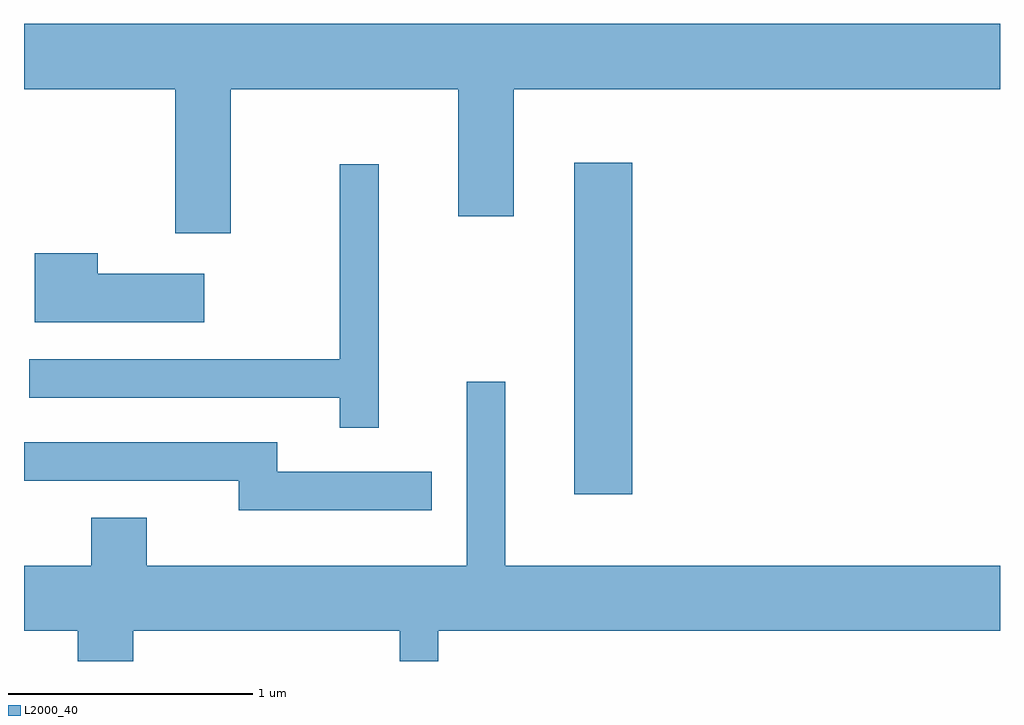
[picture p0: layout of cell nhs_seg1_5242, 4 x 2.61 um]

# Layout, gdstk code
import gdstk
lib = gdstk.Library(unit=1e-6, precision=1e-09)
def R(c, l, rs):  # rectangles x0, y0, x1, y1
    for r in rs: c.add(gdstk.rectangle(r[:2], r[2:], *l))
def P(c, l, *ps):  # polygons
    for p in ps: c.add(gdstk.Polygon(p, *l))
L2000_40 = (2000, 40)

nhs_seg1_5242 = lib.new_cell('nhs_seg1_5242')
R(nhs_seg1_5242, L2000_40, [(345.866,862.396,346.104,863.754)])
P(nhs_seg1_5242, L2000_40, [(344.459,864.056),(345.391,864.056),(345.391,863.536),(345.619,863.536),(345.619,864.056),(347.611,864.056),(347.611,864.324),(343.611,864.324),(343.611,864.056),(344.231,864.056),(344.231,863.466),(344.459,863.466)],
  [(345.064,863.748),(344.906,863.748),(344.906,862.949),(343.633,862.949),(343.633,862.791),(344.906,862.791),(344.906,862.668),(345.064,862.668)],
  [(344.349,863.299),(343.914,863.299),(343.914,863.384),(343.656,863.384),(343.656,863.101),(344.349,863.101)],
  [(344.059,861.836),(345.151,861.836),(345.151,861.712),(345.309,861.712),(345.309,861.836),(347.611,861.836),(347.611,862.104),(345.584,862.104),(345.584,862.858),(345.426,862.858),(345.426,862.104),(344.114,862.104),(344.114,862.299),(343.886,862.299),(343.886,862.104),(343.611,862.104),(343.611,861.836),(343.831,861.836),(343.831,861.712),(344.059,861.712)],
  [(345.283,862.489),(344.649,862.489),(344.649,862.609),(343.611,862.609),(343.611,862.451),(344.491,862.451),(344.491,862.331),(345.283,862.331)])

lib.write_gds('nhs_seg1_5242.gds')
